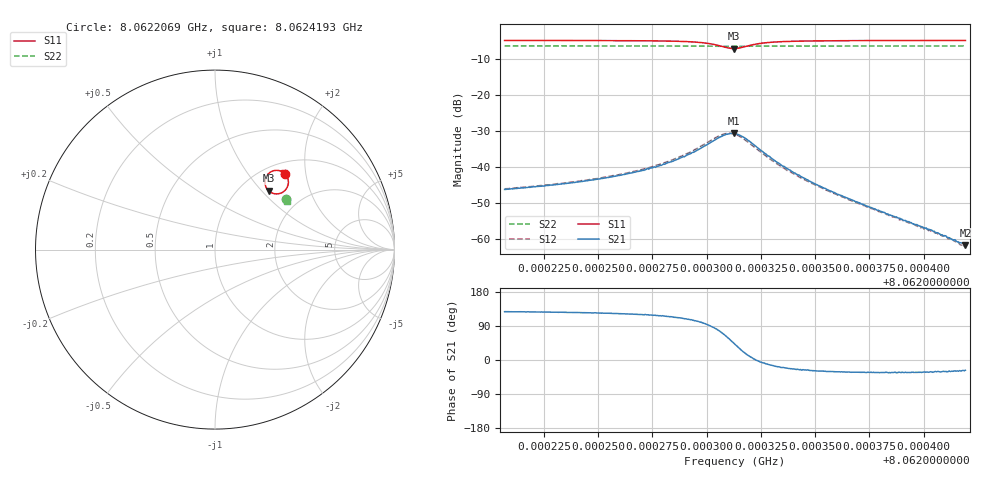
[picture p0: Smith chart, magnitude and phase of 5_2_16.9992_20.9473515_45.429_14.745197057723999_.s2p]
#  HZ  S  RI  R  50.00
! Rohde & Schwarz Vector Network Analyzer
! Rohde-Schwarz,ZNB20-2Port,1311601062101988,3.16
! Created: UTC 3/20/2024, 10:52:14 PM
! freq[Hz]  re:S11  im:S11  re:S21  im:S21  re:S12  im:S12  re:S22  im:S22
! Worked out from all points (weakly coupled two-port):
!   401 points, 8.0622069 GHz to 8.0624193 GHz, reference 50 ohm
!   highest |S21| = -30.66 dB at 8.0623126 GHz (marker M1); lowest = -61.7 dB at 8.0624193 GHz (marker M2)
!   lowest |S11| = -7.1 dB at 8.0623126 GHz (marker M3), VSWR 2.59, Z = 67.1 + j54.7 ohm
!   |S11| at or under -10 dB: nowhere
!   |S22| runs from -6.4 to -6.3 dB; largest |S21 - S12| = 0.0054
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8.06220693e9  0.3907 0.4221  -0.00297 0.00388  -0.00275 0.00417  0.3931 0.2793
8.06222074e9  0.3927 0.4197  -0.00321 0.00426  -0.00298 0.0045  0.3936 0.2787
8.0622425e9  0.3966 0.4149  -0.00361 0.00515  -0.00335 0.00557  0.3945 0.2773
8.06226268e9  0.4014 0.4072  -0.00419 0.00676  -0.00385 0.00723  0.3952 0.2758
8.06227808e9  0.4062 0.3954  -0.00461 0.00926  -0.0042 0.00995  0.3955 0.2745
8.06229082e9  0.4091 0.3745  -0.00453 0.0139  -0.00357 0.0149  0.3959 0.273
8.06230091e9  0.3974 0.3387  -0.000812 0.021  0.00184 0.0224  0.3947 0.2711
8.06230728e9  0.3572 0.3117  0.00883 0.0256  0.0134 0.0249  0.3925 0.2706
8.06230993e9  0.3281 0.3121  0.0151 0.0245  0.0198 0.0219  0.3913 0.2713
8.06231259e9  0.2991 0.3274  0.0212 0.0203  0.0242 0.0159  0.3907 0.2725
8.06231312e9  0.2946 0.3322  0.022 0.0191  0.0246 0.0145  0.3908 0.2727
8.06231736e9  0.2778 0.3779  0.0242 0.00872  0.0239 0.00448  0.3912 0.2746
8.06232533e9  0.3047 0.4292  0.0167 -0.00179  0.0154 -0.00332  0.3935 0.2755
8.0623317e9  0.3269 0.4395  0.0116 -0.00348  0.0107 -0.00424  0.3948 0.2754
8.06233701e9  0.3398 0.4416  0.00889 -0.00351  0.00814 -0.00389  0.3954 0.2749
8.06234869e9  0.3565 0.4404  0.00541 -0.00288  0.00503 -0.0031  0.3964 0.274
8.0623609e9  0.366 0.4378  0.00355 -0.00214  0.0033 -0.00232  0.3971 0.2732
8.06238426e9  0.3756 0.4335  0.00181 -0.00118  0.0017 -0.00123  0.3981 0.2718
8.06240391e9  0.3802 0.4306  0.00112 -0.000695  0.00105 -0.000726  0.3989 0.2707
8.06240975e9  0.3814 0.4298  0.000961 -0.000564  0.000913 -0.000639  0.399 0.2704
8.06241771e9  0.3827 0.429  0.000773 -0.000419  0.000689 -0.000446  0.3995 0.27
8.0624193e9  0.3829 0.4289  0.000735 -0.000374  0.000699 -0.000407  0.3995 0.2698
